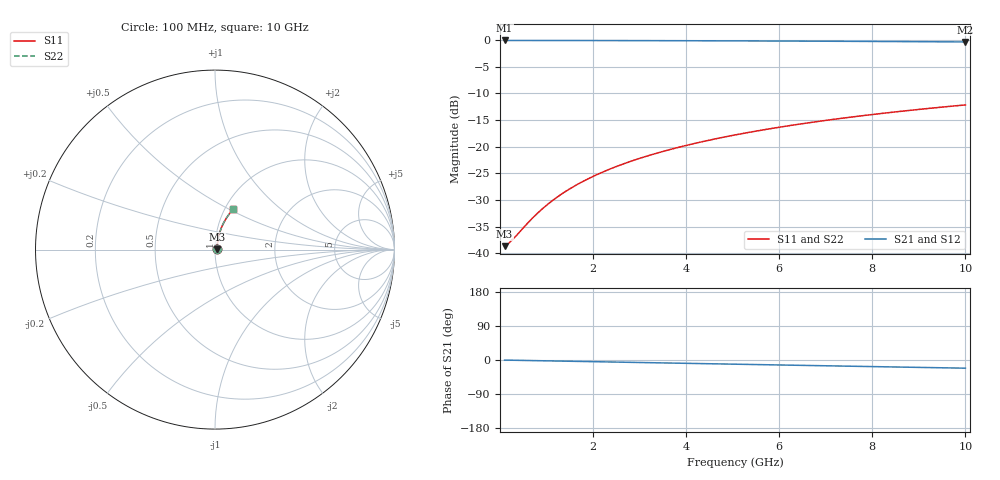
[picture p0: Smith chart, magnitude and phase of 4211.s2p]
# Hz S RI R 50.00
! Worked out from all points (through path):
!   100 points, 100 MHz to 10 GHz, reference 50 ohm
!   highest |S21| = -0.10 dB at 100 MHz (marker M1); lowest = -0.4 dB at 10 GHz (marker M2)
!   group delay of S21, straight-line fit = 6.01 ps
!   lowest |S11| = -38.7 dB at 100 MHz (marker M3), VSWR 1.02, Z = 51.2 + j0.258 ohm
!   |S11| at or under -10 dB: start of sweep to end of sweep
!   |S22| runs from -38.7 to -12.2 dB; largest |S21 - S12| = 0
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1e8  0.0114 0.00252  0.9886 -0.0038  0.9886 -0.0038  0.0114 0.00252
2e8  0.0115 0.00504  0.9885 -0.00759  0.9885 -0.00759  0.0115 0.00504
3e8  0.0116 0.00756  0.9884 -0.0114  0.9884 -0.0114  0.0116 0.00756
7e8  0.0121 0.0176  0.9878 -0.0265  0.9878 -0.0265  0.0121 0.0176
8e8  0.0123 0.0201  0.9876 -0.0303  0.9876 -0.0303  0.0123 0.0201
1e9  0.0127 0.0252  0.9872 -0.0379  0.9872 -0.0379  0.0127 0.0252
1.2e9  0.0132 0.0302  0.9867 -0.0455  0.9867 -0.0455  0.0132 0.0302
1.4e9  0.0137 0.0352  0.9861 -0.053  0.9861 -0.053  0.0137 0.0352
1.6e9  0.0143 0.0402  0.9855 -0.0606  0.9855 -0.0606  0.0143 0.0402
1.8e9  0.015 0.0451  0.9847 -0.0681  0.9847 -0.0681  0.015 0.0451
2.1e9  0.0162 0.0526  0.9835 -0.0794  0.9835 -0.0794  0.0162 0.0526
2.5e9  0.018 0.0625  0.9815 -0.0944  0.9815 -0.0944  0.018 0.0625
2.9e9  0.0201 0.0723  0.9792 -0.1093  0.9792 -0.1093  0.0201 0.0723
3.4e9  0.0231 0.0844  0.9759 -0.1278  0.9759 -0.1278  0.0231 0.0844
3.8e9  0.0259 0.094  0.9729 -0.1425  0.9729 -0.1425  0.0259 0.094
4.2e9  0.029 0.1035  0.9695 -0.1571  0.9695 -0.1571  0.029 0.1035
5.1e9  0.0368 0.1244  0.961 -0.1896  0.961 -0.1896  0.0368 0.1244
5.9e9  0.045 0.1425  0.9521 -0.2179  0.9521 -0.2179  0.045 0.1425
6.7e9  0.0541 0.1599  0.9421 -0.2456  0.9421 -0.2456  0.0541 0.1599
7.5e9  0.0643 0.1766  0.931 -0.2726  0.931 -0.2726  0.0643 0.1766
8.4e9  0.0768 0.1946  0.9173 -0.3021  0.9173 -0.3021  0.0768 0.1946
1e10  0.1015 0.224  0.8901 -0.3522  0.8901 -0.3522  0.1015 0.224
